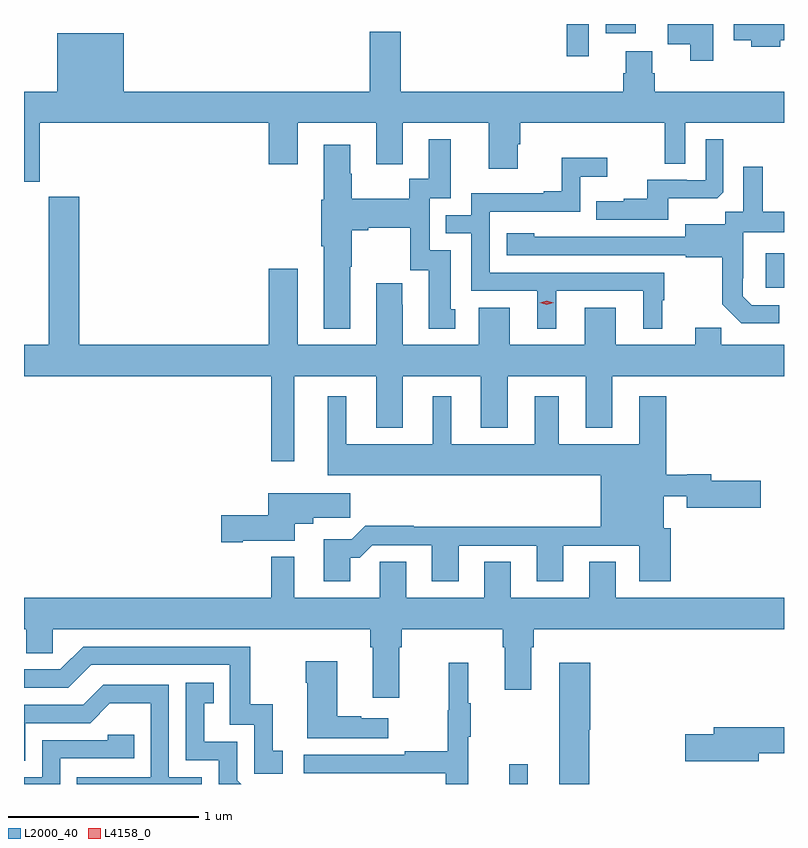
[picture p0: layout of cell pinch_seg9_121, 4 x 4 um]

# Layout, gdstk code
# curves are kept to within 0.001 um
import gdstk
lib = gdstk.Library(unit=1e-6, precision=1e-09)
def R(c, l, rs):  # rectangles x0, y0, x1, y1
    for r in rs: c.add(gdstk.rectangle(r[:2], r[2:], *l))
def P(c, l, *ps):  # polygons
    for p in ps: c.add(gdstk.Polygon(p, *l))
L2000_40 = (2000, 40)
L4158_0 = (4158, 0)

pinch_seg9_121 = lib.new_cell('pinch_seg9_121')
R(pinch_seg9_121, L2000_40, [(821.751,1236.897,821.848,1237), (823.103,1239.51,823.198,1239.691), (822.055,1240.728,822.171,1240.897), (822.26,1240.848,822.418,1240.897)])
P(pinch_seg9_121, L2000_40, [(822.826,1240.897),(822.587,1240.897),(822.587,1240.79),(822.704,1240.79),(822.704,1240.704),(822.826,1240.704)],
  [(823.178,1240.812),(823.198,1240.812),(823.198,1240.897),(822.933,1240.897),(822.933,1240.812),(823.025,1240.812),(823.025,1240.778),(823.178,1240.778)],
  [(819.28,1240.376),(820.487,1240.376),(820.487,1240.158),(820.639,1240.158),(820.639,1240.376),(821.051,1240.376),(821.051,1240.158),(821.191,1240.158),(821.191,1240.376),(821.645,1240.376),(821.645,1240.134),(821.797,1240.134),(821.797,1240.263),(821.81,1240.263),(821.81,1240.376),(822.57,1240.376),(822.57,1240.162),(822.678,1240.162),(822.678,1240.376),(823.198,1240.376),(823.198,1240.54),(822.518,1240.54),(822.518,1240.638),(822.505,1240.638),(822.505,1240.753),(822.365,1240.753),(822.365,1240.638),(822.353,1240.638),(822.353,1240.54),(821.182,1240.54),(821.182,1240.857),(821.018,1240.857),(821.018,1240.54),(819.724,1240.54),(819.724,1240.849),(819.374,1240.849),(819.374,1240.54),(819.198,1240.54),(819.198,1240.067),(819.28,1240.067)],
  [(820.915,1239.619),(820.923,1239.619),(820.923,1239.812),(821.011,1239.812),(821.011,1239.824),(821.231,1239.824),(821.231,1239.6),(821.327,1239.6),(821.327,1239.294),(821.467,1239.294),(821.467,1239.396),(821.443,1239.396),(821.443,1239.705),(821.334,1239.705),(821.334,1239.981),(821.443,1239.981),(821.443,1240.291),(821.327,1240.291),(821.327,1240.082),(821.226,1240.082),(821.226,1239.976),(820.923,1239.976),(820.923,1240.11),(820.915,1240.11),(820.915,1240.261),(820.775,1240.261),(820.775,1239.972),(820.763,1239.972),(820.763,1239.728),(820.775,1239.728),(820.775,1239.293),(820.915,1239.293)],
  [(822.589,1239.98),(822.847,1239.98),(822.879,1240.011),(822.879,1240.291),(822.786,1240.291),(822.786,1240.074),(822.686,1240.074),(822.686,1240.077),(822.479,1240.077),(822.479,1239.976),(822.355,1239.976),(822.355,1239.964),(822.211,1239.964),(822.211,1239.867),(822.589,1239.867)],
  [(821.998,1239.492),(822.458,1239.492),(822.458,1239.293),(822.556,1239.293),(822.556,1239.444),(822.568,1239.444),(822.568,1239.588),(821.649,1239.588),(821.649,1239.909),(822.126,1239.909),(822.126,1240.094),(822.268,1240.094),(822.268,1240.193),(822.028,1240.193),(822.028,1240.018),(821.933,1240.018),(821.933,1240.005),(821.553,1240.005),(821.553,1239.891),(821.419,1239.891),(821.419,1239.795),(821.553,1239.795),(821.553,1239.492),(821.9,1239.492),(821.9,1239.293),(821.998,1239.293)],
  [(823.174,1239.417),(823.029,1239.417),(822.982,1239.464),(822.982,1239.559),(822.984,1239.559),(822.984,1239.8),(823.198,1239.8),(823.198,1239.91),(823.087,1239.91),(823.087,1240.147),(822.983,1240.147),(822.983,1239.908),(822.888,1239.908),(822.888,1239.844),(822.677,1239.844),(822.677,1239.777),(821.883,1239.778),(821.883,1239.796),(821.739,1239.796),(821.739,1239.681),(822.681,1239.681),(822.681,1239.669),(822.873,1239.669),(822.873,1239.423),(822.973,1239.323),(823.174,1239.323)],
  [(820.621,1239.044),(821.051,1239.044),(821.051,1238.771),(821.191,1238.771),(821.191,1239.044),(821.603,1239.044),(821.603,1238.771),(821.743,1238.771),(821.743,1239.044),(822.155,1239.044),(822.155,1238.771),(822.295,1238.771),(822.295,1239.044),(823.198,1239.044),(823.198,1239.208),(822.869,1239.208),(822.869,1239.299),(822.731,1239.299),(822.731,1239.208),(822.313,1239.208),(822.313,1239.403),(822.149,1239.403),(822.149,1239.208),(821.755,1239.208),(821.755,1239.403),(821.591,1239.403),(821.591,1239.208),(821.191,1239.208),(821.191,1239.419),(821.188,1239.419),(821.188,1239.532),(821.051,1239.532),(821.051,1239.208),(820.639,1239.208),(820.639,1239.61),(820.487,1239.61),(820.487,1239.208),(819.488,1239.208),(819.488,1239.988),(819.328,1239.988),(819.328,1239.208),(819.198,1239.208),(819.198,1239.044),(820.5,1239.044),(820.5,1238.595),(820.621,1238.595)],
  [(820.915,1238.087),(820.964,1238.087),(821.031,1238.154),(821.345,1238.154),(821.345,1237.965),(821.485,1237.965),(821.485,1238.151),(821.897,1238.151),(821.897,1237.965),(822.037,1237.965),(822.037,1238.151),(822.437,1238.151),(822.437,1237.965),(822.602,1237.965),(822.602,1238.244),(822.565,1238.244),(822.565,1238.411),(822.686,1238.411),(822.686,1238.35),(823.075,1238.35),(823.075,1238.492),(822.814,1238.492),(822.814,1238.528),(822.69,1238.528),(822.69,1238.524),(822.578,1238.524),(822.578,1238.938),(822.437,1238.938),(822.437,1238.686),(822.013,1238.686),(822.013,1238.938),(821.885,1238.938),(821.885,1238.686),(821.446,1238.686),(821.446,1238.938),(821.348,1238.938),(821.348,1238.686),(820.894,1238.686),(820.894,1238.938),(820.796,1238.938),(820.796,1238.522),(822.233,1238.522),(822.233,1238.252),(821.249,1238.252),(821.249,1238.255),(820.994,1238.255),(820.924,1238.185),(820.775,1238.185),(820.775,1237.965),(820.915,1237.965)],
  [(820.348,1238.177),(820.624,1238.177),(820.624,1238.267),(820.72,1238.267),(820.72,1238.299),(820.915,1238.299),(820.915,1238.428),(820.484,1238.428),(820.484,1238.312),(820.236,1238.312),(820.236,1238.17),(820.348,1238.17)],
  [(821.621,1237.876),(821.209,1237.876),(821.209,1238.066),(821.07,1238.066),(821.07,1237.876),(820.621,1237.876),(820.621,1238.092),(820.5,1238.092),(820.5,1237.876),(819.198,1237.876),(819.198,1237.712),(819.209,1237.712),(819.209,1237.585),(819.348,1237.585),(819.348,1237.712),(821.021,1237.712),(821.021,1237.616),(821.033,1237.616),(821.033,1237.35),(821.173,1237.35),(821.173,1237.616),(821.186,1237.616),(821.186,1237.712),(821.717,1237.712),(821.717,1237.616),(821.729,1237.616),(821.729,1237.392),(821.869,1237.392),(821.869,1237.616),(821.882,1237.616),(821.882,1237.712),(823.198,1237.712),(823.198,1237.876),(822.313,1237.876),(822.313,1238.066),(822.173,1238.066),(822.173,1237.876),(821.761,1237.876),(821.761,1238.066),(821.621,1238.066)],
  [(820.561,1237.071),(820.508,1237.071),(820.508,1237.318),(820.39,1237.318),(820.39,1237.62),(819.51,1237.62),(819.39,1237.5),(819.198,1237.5),(819.198,1237.404),(819.432,1237.404),(819.552,1237.524),(820.281,1237.524),(820.281,1237.209),(820.41,1237.209),(820.41,1236.951),(820.561,1236.951)],
  [(821.116,1237.243),(820.973,1237.243),(820.973,1237.253),(820.846,1237.253),(820.846,1237.543),(820.681,1237.543),(820.681,1237.43),(820.688,1237.43),(820.688,1237.139),(821.116,1237.139)],
  [(822.173,1237.182),(822.178,1237.182),(822.178,1237.534),(822.014,1237.534),(822.014,1236.897),(822.173,1236.897)],
  [(821.537,1237.147),(821.548,1237.147),(821.548,1237.321),(821.537,1237.321),(821.537,1237.534),(821.434,1237.534),(821.434,1237.284),(821.427,1237.284),(821.427,1237.07),(821.203,1237.07),(821.203,1237.05),(820.671,1237.05),(820.671,1236.954),(821.419,1236.954),(821.419,1236.897),(821.537,1236.897)],
  [(820.32,1236.918),(820.32,1237.119),(820.147,1237.119),(820.147,1237.323),(820.196,1237.323),(820.196,1237.429),(820.05,1237.429),(820.05,1237.023),(820.224,1237.023),(820.224,1236.897),(820.341,1236.897)],
  [(820.134,1236.933),(819.96,1236.933),(819.96,1237.419),(819.614,1237.419),(819.509,1237.314),(819.198,1237.314),(819.198,1237.02),(819.204,1237.02),(819.204,1237.218),(819.546,1237.218),(819.65,1237.322),(819.864,1237.322),(819.864,1236.933),(819.475,1236.933),(819.475,1236.897),(820.134,1236.897)],
  [(823.066,1237.06),(823.198,1237.06),(823.198,1237.196),(822.827,1237.196),(822.827,1237.16),(822.678,1237.16),(822.678,1237.018),(823.066,1237.018)],
  [(819.39,1237.032),(819.779,1237.032),(819.779,1237.155),(819.639,1237.155),(819.639,1237.128),(819.294,1237.128),(819.294,1236.933),(819.198,1236.933),(819.198,1236.897),(819.39,1236.897)])
P(pinch_seg9_121, L4158_0, [(821.949,1239.42),(821.913,1239.429),(821.913,1239.429),(821.913,1239.429),(821.949,1239.44),(821.985,1239.431),(821.985,1239.431),(821.985,1239.431)])

lib.write_gds('pinch_seg9_121.gds')
